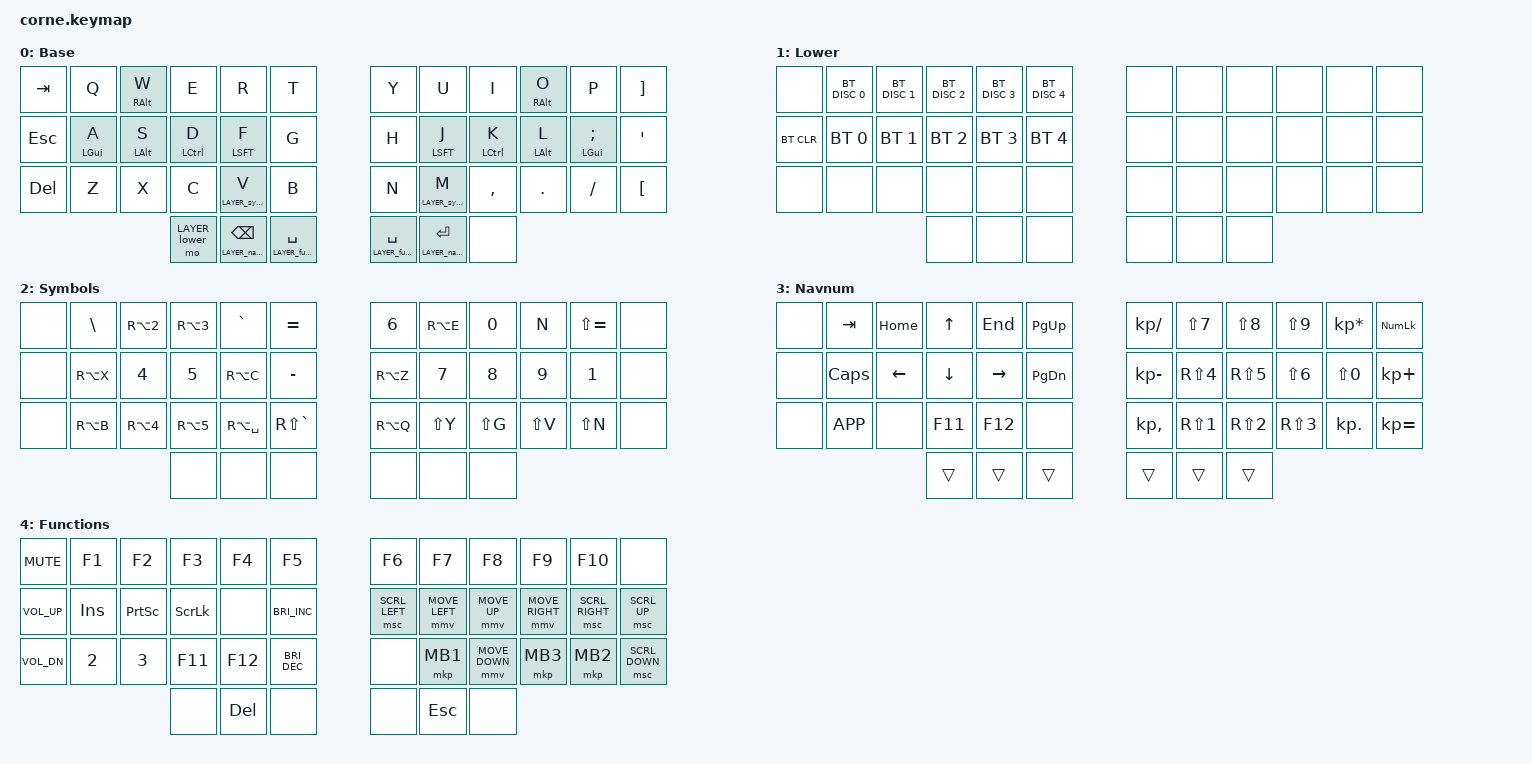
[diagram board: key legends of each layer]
/*
 * Copyright (c) 2020 The ZMK Contributors
 *
 * SPDX-License-Identifier: MIT
 */

#include <behaviors.dtsi>
#include <dt-bindings/zmk/bt.h>
#include <dt-bindings/zmk/keys.h>
#include <dt-bindings/zmk/pointing.h>

#define LAYER_default 0
#define LAYER_lower 1
#define LAYER_symbol 2
#define LAYER_navnum 3
#define LAYER_functions 4

/ {

//////////////////////////////////////////////////////////////////////////////
//
// Advanced Home Row Mods (HRM) Example based on
// Sunaku's Keymap v35 -- "Glorious Engrammer"
// - https://github.com/sunaku/glove80-keymaps
//
//////////////////////////////////////////////////////////////////////////////

//
// DIFFICULTY_LEVEL specifies your level of expertise with this keymap.
// It's meant to help newcomers gradually work their way up to mastery.
// You can disable this setting by omitting it or assigning a `0` zero.
//
// #define DIFFICULTY_LEVEL 0 // custom (see defaults below)
// #define DIFFICULTY_LEVEL 1 // novice (500ms)
// #define DIFFICULTY_LEVEL 2 // slower (400ms)
// #define DIFFICULTY_LEVEL 3 // normal (300ms)
// #define DIFFICULTY_LEVEL 4 // faster (200ms)
// #define DIFFICULTY_LEVEL 5 // expert (100ms)
//

#define DIFFICULTY_LEVEL 3

#if defined(DIFFICULTY_LEVEL) && DIFFICULTY_LEVEL > 0
#define DIFFICULTY_THRESHOLD ((6-DIFFICULTY_LEVEL)*100)
#define HOMEY_HOLDING_TIME DIFFICULTY_THRESHOLD
#define INDEX_HOLDING_TIME DIFFICULTY_THRESHOLD
#endif

  behaviors {

     //////////////////////////////////////////////////////////////////////////
     //
     // Miryoku layers and home row mods (ported from my QMK endgame)
     // - https://sunaku.github.io/home-row-mods.html#porting-to-zmk
     // - https://github.com/urob/zmk-config#timeless-homerow-mods
     //
     //////////////////////////////////////////////////////////////////////////

     //
     // HOMEY_HOLDING_TYPE defines the flavor of ZMK hold-tap behavior to use
     // for the pinky, ring, and middle fingers (which are assigned to Super,
     // Alt, and Ctrl respectively in the Miryoku system) on home row keys.
     //

#define HOMEY_HOLDING_TYPE "tap-preferred"

    //
    // HOMEY_HOLDING_TIME defines how long you need to hold (milliseconds)
    // home row mod keys in order to send their modifiers to the computer
    // (i.e. "register" them) for mod-click mouse usage (e.g. Ctrl-Click).
    //

#ifndef HOMEY_HOLDING_TIME
#define HOMEY_HOLDING_TIME 270 // TAPPING_TERM + ALLOW_CROSSOVER_AFTER
#endif

    //
    // HOMEY_STREAK_DECAY defines how long you need to wait (milliseconds)
    // after typing before you can use home row mods again.  It prevents
    // unintended activation of home row mods when you're actively typing.
    //

#define HOMEY_STREAK_DECAY 250

    //
    // HOMEY_REPEAT_DECAY defines how much time you have left (milliseconds)
    // after tapping a key to hold it again in order to make it auto-repeat.
    //

#define HOMEY_REPEAT_DECAY 300 // "tap then hold" for key auto-repeat

    //
    // INDEX_HOLDING_TYPE defines the flavor of ZMK hold-tap behavior to use
    // for index fingers (which Miryoku assigns to Shift) on home row keys.
    //

#define INDEX_HOLDING_TYPE "tap-preferred"

    //
    // INDEX_HOLDING_TIME defines how long you need to hold (milliseconds)
    // index finger keys in order to send their modifiers to the computer
    // (i.e. "register" them) for mod-click mouse usage (e.g. Shift-Click).
    //

#ifndef INDEX_HOLDING_TIME
#define INDEX_HOLDING_TIME 170
#endif

    //
    // INDEX_STREAK_DECAY defines how long you need to wait (milliseconds)
    // after typing before you can use home row mods again.  It prevents
    // unintended activation of home row mods when you're actively typing.
    //

#define INDEX_STREAK_DECAY 150

    //
    // INDEX_REPEAT_DECAY defines how much time you have left (milliseconds)
    // after tapping a key to hold it again in order to make it auto-repeat.
    //

#define INDEX_REPEAT_DECAY 300 // "tap then hold" for key auto-repeat


#define PINKY_HOLDING_TYPE HOMEY_HOLDING_TYPE
#define PINKY_HOLDING_TIME HOMEY_HOLDING_TIME
#define PINKY_STREAK_DECAY HOMEY_STREAK_DECAY
#define PINKY_REPEAT_DECAY HOMEY_REPEAT_DECAY

#define RING1_HOLDING_TYPE HOMEY_HOLDING_TYPE
#define RING1_HOLDING_TIME HOMEY_HOLDING_TIME
#define RING1_STREAK_DECAY HOMEY_STREAK_DECAY
#define RING1_REPEAT_DECAY HOMEY_REPEAT_DECAY

#define RING2_HOLDING_TYPE HOMEY_HOLDING_TYPE
#define RING2_HOLDING_TIME HOMEY_HOLDING_TIME
#define RING2_STREAK_DECAY HOMEY_STREAK_DECAY
#define RING2_REPEAT_DECAY HOMEY_REPEAT_DECAY

#define MIDDY_HOLDING_TYPE HOMEY_HOLDING_TYPE
#define MIDDY_HOLDING_TIME HOMEY_HOLDING_TIME
#define MIDDY_STREAK_DECAY HOMEY_STREAK_DECAY
#define MIDDY_REPEAT_DECAY HOMEY_REPEAT_DECAY

#define LEFT_PINKY_HOLDING_TYPE PINKY_HOLDING_TYPE
#define LEFT_PINKY_HOLDING_TIME PINKY_HOLDING_TIME
#define LEFT_PINKY_STREAK_DECAY PINKY_STREAK_DECAY
#define LEFT_PINKY_REPEAT_DECAY PINKY_REPEAT_DECAY

#define RIGHT_PINKY_HOLDING_TYPE PINKY_HOLDING_TYPE
#define RIGHT_PINKY_HOLDING_TIME PINKY_HOLDING_TIME
#define RIGHT_PINKY_STREAK_DECAY PINKY_STREAK_DECAY
#define RIGHT_PINKY_REPEAT_DECAY PINKY_REPEAT_DECAY

#define LEFT_RING1_HOLDING_TYPE RING1_HOLDING_TYPE
#define LEFT_RING1_HOLDING_TIME RING1_HOLDING_TIME
#define LEFT_RING1_STREAK_DECAY RING1_STREAK_DECAY
#define LEFT_RING1_REPEAT_DECAY RING1_REPEAT_DECAY

#define RIGHT_RING1_HOLDING_TYPE RING1_HOLDING_TYPE
#define RIGHT_RING1_HOLDING_TIME RING1_HOLDING_TIME
#define RIGHT_RING1_STREAK_DECAY RING1_STREAK_DECAY
#define RIGHT_RING1_REPEAT_DECAY RING1_REPEAT_DECAY

#define LEFT_RING2_HOLDING_TYPE RING2_HOLDING_TYPE
#define LEFT_RING2_HOLDING_TIME RING2_HOLDING_TIME
#define LEFT_RING2_STREAK_DECAY RING2_STREAK_DECAY
#define LEFT_RING2_REPEAT_DECAY RING2_REPEAT_DECAY

#define RIGHT_RING2_HOLDING_TYPE RING2_HOLDING_TYPE
#define RIGHT_RING2_HOLDING_TIME RING2_HOLDING_TIME
#define RIGHT_RING2_STREAK_DECAY RING2_STREAK_DECAY
#define RIGHT_RING2_REPEAT_DECAY RING2_REPEAT_DECAY

#define LEFT_MIDDY_HOLDING_TYPE MIDDY_HOLDING_TYPE
#define LEFT_MIDDY_HOLDING_TIME MIDDY_HOLDING_TIME
#define LEFT_MIDDY_STREAK_DECAY MIDDY_STREAK_DECAY
#define LEFT_MIDDY_REPEAT_DECAY MIDDY_REPEAT_DECAY

#define RIGHT_MIDDY_HOLDING_TYPE MIDDY_HOLDING_TYPE
#define RIGHT_MIDDY_HOLDING_TIME MIDDY_HOLDING_TIME
#define RIGHT_MIDDY_STREAK_DECAY MIDDY_STREAK_DECAY
#define RIGHT_MIDDY_REPEAT_DECAY MIDDY_REPEAT_DECAY

#define LEFT_INDEX_HOLDING_TYPE INDEX_HOLDING_TYPE
#define LEFT_INDEX_HOLDING_TIME INDEX_HOLDING_TIME
#define LEFT_INDEX_STREAK_DECAY INDEX_STREAK_DECAY
#define LEFT_INDEX_REPEAT_DECAY INDEX_REPEAT_DECAY

#define RIGHT_INDEX_HOLDING_TYPE INDEX_HOLDING_TYPE
#define RIGHT_INDEX_HOLDING_TIME INDEX_HOLDING_TIME
#define RIGHT_INDEX_STREAK_DECAY INDEX_STREAK_DECAY
#define RIGHT_INDEX_REPEAT_DECAY INDEX_REPEAT_DECAY

    // Corne
    //
    //      0  1  2  3  4  5           6  7  8  9 10 11
    //      12 13 14 15 16 17         18 19 20 21 22 23
    //      24 25 26 27 28 29           30 31 32 33 34 35
    //                  36 37 38   39 40 41

    //
    // Home row mods with per-finger configuration settings
    //

#define RIGHT_HAND_KEYS 6 7 8 9 10 11 18 19 20 21 22 23 30 31 32 33 34 35
#define LEFT_HAND_KEYS 0 1 2 3 4 5 12 13 14 15 16 17 24 25 26 27 28 29
#define LEFT_THUMB_KEYS 36 37 38
#define RIGHT_THUMB_KEYS 39 40 41
#define ALL_THUMB_KEYS LEFT_THUMB_KEYS RIGHT_THUMB_KEYS

    left_pinky: homey_left_pinky {
        compatible = "zmk,behavior-hold-tap";
        flavor = LEFT_PINKY_HOLDING_TYPE;
        hold-trigger-key-positions = <RIGHT_HAND_KEYS ALL_THUMB_KEYS>;
        hold-trigger-on-release; // wait for other home row mods
        tapping-term-ms = <LEFT_PINKY_HOLDING_TIME>;
        quick-tap-ms = <LEFT_PINKY_REPEAT_DECAY>;
        require-prior-idle-ms = <LEFT_PINKY_STREAK_DECAY>;
        #binding-cells = <2>;
        bindings = <&kp>, <&kp>;
    };

    right_pinky: homey_right_pinky {
        compatible = "zmk,behavior-hold-tap";
        flavor = RIGHT_PINKY_HOLDING_TYPE;
        hold-trigger-key-positions = <LEFT_HAND_KEYS ALL_THUMB_KEYS>;
        hold-trigger-on-release; // wait for other home row mods
        tapping-term-ms = <RIGHT_PINKY_HOLDING_TIME>;
        quick-tap-ms = <RIGHT_PINKY_REPEAT_DECAY>;
        require-prior-idle-ms = <RIGHT_PINKY_STREAK_DECAY>;
        #binding-cells = <2>;
        bindings = <&kp>, <&kp>;
    };

    left_ring1: homey_left_ring1 {
        compatible = "zmk,behavior-hold-tap";
        flavor = LEFT_RING1_HOLDING_TYPE;
        hold-trigger-key-positions = <RIGHT_HAND_KEYS ALL_THUMB_KEYS>;
        hold-trigger-on-release; // wait for other home row mods
        tapping-term-ms = <LEFT_RING1_HOLDING_TIME>;
        quick-tap-ms = <LEFT_RING1_REPEAT_DECAY>;
        require-prior-idle-ms = <LEFT_RING1_STREAK_DECAY>;
        #binding-cells = <2>;
        bindings = <&kp>, <&kp>;
    };

    right_ring1: homey_right_ring1 {
        compatible = "zmk,behavior-hold-tap";
        flavor = RIGHT_RING1_HOLDING_TYPE;
        hold-trigger-key-positions = <LEFT_HAND_KEYS ALL_THUMB_KEYS>;
        hold-trigger-on-release; // wait for other home row mods
        tapping-term-ms = <RIGHT_RING1_HOLDING_TIME>;
        quick-tap-ms = <RIGHT_RING1_REPEAT_DECAY>;
        require-prior-idle-ms = <RIGHT_RING1_STREAK_DECAY>;
        #binding-cells = <2>;
        bindings = <&kp>, <&kp>;
    };

    left_ring2: homey_left_ring2 {
        compatible = "zmk,behavior-hold-tap";
        flavor = LEFT_RING2_HOLDING_TYPE;
        hold-trigger-key-positions = <RIGHT_HAND_KEYS ALL_THUMB_KEYS>;
        hold-trigger-on-release; // wait for other home row mods
        tapping-term-ms = <LEFT_RING2_HOLDING_TIME>;
        quick-tap-ms = <LEFT_RING2_REPEAT_DECAY>;
        require-prior-idle-ms = <LEFT_RING2_STREAK_DECAY>;
        #binding-cells = <2>;
        bindings = <&kp>, <&kp>;
    };

    right_ring2: homey_right_ring2 {
        compatible = "zmk,behavior-hold-tap";
        flavor = RIGHT_RING2_HOLDING_TYPE;
        hold-trigger-key-positions = <LEFT_HAND_KEYS ALL_THUMB_KEYS>;
        hold-trigger-on-release; // wait for other home row mods
        tapping-term-ms = <RIGHT_RING2_HOLDING_TIME>;
        quick-tap-ms = <RIGHT_RING2_REPEAT_DECAY>;
        require-prior-idle-ms = <RIGHT_RING2_STREAK_DECAY>;
        #binding-cells = <2>;
        bindings = <&kp>, <&kp>;
    };

    left_middy: homey_left_middy {
        compatible = "zmk,behavior-hold-tap";
        flavor =
        LEFT_MIDDY_HOLDING_TYPE;
        hold-trigger-key-positions = <RIGHT_HAND_KEYS ALL_THUMB_KEYS>;
        hold-trigger-on-release; // wait for other home row mods
        tapping-term-ms = <LEFT_MIDDY_HOLDING_TIME>;
        quick-tap-ms = <LEFT_MIDDY_REPEAT_DECAY>;
        require-prior-idle-ms = <LEFT_MIDDY_STREAK_DECAY>;
        #binding-cells = <2>;
        bindings = <&kp>, <&kp>;
    };

    right_middy: homey_right_middy {
        compatible = "zmk,behavior-hold-tap";
        flavor = RIGHT_MIDDY_HOLDING_TYPE;
        hold-trigger-key-positions = <LEFT_HAND_KEYS ALL_THUMB_KEYS>;
        hold-trigger-on-release; // wait for other home row mods
        tapping-term-ms = <RIGHT_MIDDY_HOLDING_TIME>;
        quick-tap-ms = <RIGHT_MIDDY_REPEAT_DECAY>;
        require-prior-idle-ms = <RIGHT_MIDDY_STREAK_DECAY>;
        #binding-cells = <2>;
        bindings = <&kp>, <&kp>;
    };

    left_index: homey_left_index {
        compatible = "zmk,behavior-hold-tap";
        flavor = LEFT_INDEX_HOLDING_TYPE;
        hold-trigger-key-positions = <RIGHT_HAND_KEYS ALL_THUMB_KEYS>;
        hold-trigger-on-release; // wait for other home row mods
        tapping-term-ms = <LEFT_INDEX_HOLDING_TIME>;
        quick-tap-ms = <LEFT_INDEX_REPEAT_DECAY>;
        require-prior-idle-ms = <LEFT_INDEX_STREAK_DECAY>;
        #binding-cells = <2>;
        bindings = <&kp>, <&kp>;
    };

    right_index: homey_right_index {
        compatible = "zmk,behavior-hold-tap";
        flavor = RIGHT_INDEX_HOLDING_TYPE;
        hold-trigger-key-positions = <LEFT_HAND_KEYS ALL_THUMB_KEYS>;
        hold-trigger-on-release; // wait for other home row mods
        tapping-term-ms = <RIGHT_INDEX_HOLDING_TIME>;
        quick-tap-ms = <RIGHT_INDEX_REPEAT_DECAY>;
        require-prior-idle-ms = <RIGHT_INDEX_STREAK_DECAY>;
        #binding-cells = <2>;
        bindings = <&kp>, <&kp>;
    };
  };
};

/ {
  keymap {
    compatible = "zmk,keymap";

    // Corne
    //      0  1  2  3  4  5           6  7  8  9 10 11
    //      12 13 14 15 16 17         18 19 20 21 22 23
    //      24 25 26 27 28 29         30 31 32 33 34 35
    //                 36 37 38     39 40 41

    // Using BÉPO layout

    default_layer {

      //      ⭾  B  É  P  O  È          ^  V  D  L  J  W
      //      ⎋  A  U  I  E  ,          C  T  S  R  N  M
      //      ⌦  À  Y  X  .  K          ’  Q  G  H  F  Z
      //                 _  ⌫  ␣      ␣  ⏎  _
      //
      // Modifiers:  É, L: RALT     A, N: LGUI        U, R: LALT     I, S: LCTL         E, T: LSFT
      // Layers:     ., q: symbol   key36: symbol     ⌫, ⏎: navnum   ␣, ␣: functions

      display-name = "Base";
      bindings = <
&kp TAB  &kp Q               &left_ring2 RALT W    &kp E                &kp R                       &kp T                        &kp Y                      &kp U                   &kp I                 &right_ring2 RALT O  &kp P                   &kp RBKT
&kp ESC  &left_pinky LGUI A  &left_ring1 LALT S    &left_middy LCTL D   &left_index LSFT F          &kp G                        &kp H                      &right_index LSFT J     &right_middy LCTL K   &right_ring1 LALT L  &right_pinky LGUI SEMI  &kp SQT
&kp DEL  &kp Z               &kp X                 &kp C                &lt LAYER_symbol V          &kp B                        &kp N                      &lt LAYER_symbol M      &kp COMMA             &kp DOT              &kp FSLH                &kp LBKT
                                                   &mo LAYER_lower      &lt LAYER_navnum BACKSPACE  &lt LAYER_functions SPACE    &lt LAYER_functions SPACE  &lt LAYER_navnum ENTER  &none
      >;
    };

    lower_layer {

      // Lower Layer: Bluetooth
      //
      // First line: disconnect (Disconnect from the 0-indexed profile by number, if it's currently connected and inactive)
			//
      // Second line:
			//    clear
			//  & select (Select the 0-indexed profile by number)
			//
      //      _   0  1  2  3  4           _  _  _  _  _  _
      //     clr  0  1  2  3  4           _  _  _  _  _  _
      //      _   _  _  _  _  _           _  _  _  _  _  _
      //                  _  _  _       _  _  _

      display-name = "Lower";
      bindings = <
&none       &bt BT_DISC 0 &bt BT_DISC 1 &bt BT_DISC 2 &bt BT_DISC 3 &bt BT_DISC 4   &none   &none   &none   &none   &none  &none
&bt BT_CLR  &bt BT_SEL 0  &bt BT_SEL 1  &bt BT_SEL 2  &bt BT_SEL 3  &bt BT_SEL 4    &none   &none   &none   &none   &none  &none
&none       &none         &none         &none         &none         &none           &none   &none   &none   &none   &none  &none
                                        &none         &none         &none           &none   &none   &none
      >;
    };

    symbol_layer {

      //      _  ç  <  >  $  %          @  &  *  ’  `  _
      //      _  {  (  )  }  =          \  +  -  /  "  _
      //      _  ~  [  ]  _  #          |  !  ;  :  ?  _
      //                 _  _  _       _  _  _

      display-name = "Symbols";
            bindings = <
 &none  &kp BSLH   &kp RA(N2)  &kp RA(N3)  &kp GRAVE      &kp EQUAL      &kp N6     &kp RA(E)  &kp N0     &kp N      &kp LS(EQUAL)  &none
 &none  &kp RA(X)  &kp N4      &kp N5      &kp RA(C)      &kp MINUS      &kp RA(Z)  &kp N7     &kp N8     &kp N9     &kp N1         &none
 &none  &kp RA(B)  &kp RA(N4)  &kp RA(N5)  &kp RA(SPACE)  &kp RS(GRAVE)  &kp RA(Q)  &kp LS(Y)  &kp LS(G)  &kp LS(V)  &kp LS(N)      &none
                               &none       &none          &none          &none      &none      &none
      >;
    };

    navnum_layer {

      //      _  ⭾  ↖  ↑   ↖    ⇞       /  7  8  9  *  🔒
      //      _  ⇪  ←  ↓   →    ⇟       -  4  5  6  0  +
      //      _  ☰  _  F11 F12  _       ,  1  2  3  .  =
      //                   _  ⌫   ␣   ␣  ⏎  _

      display-name = "Navnum";
      bindings = <
&none &kp TAB     &kp HOME        &kp UP_ARROW    &kp END          &kp PG_UP             &kp KP_SLASH  &kp LS(N7)    &kp LS(N8)    &kp LS(N9)  &kp KP_MULTIPLY   &kp KP_NUMLOCK
&none &kp CAPS    &kp LEFT_ARROW  &kp DOWN_ARROW  &kp RIGHT_ARROW  &kp PG_DN             &kp KP_MINUS  &kp RS(N4)    &kp RS(N5)    &kp LS(N6)  &kp LS(N0)        &kp KP_PLUS
&none &kp K_APP   &none           &kp F11         &kp F12          &none                 &kp KP_COMMA  &kp RS(N1)    &kp RS(N2)    &kp RS(N3)  &kp KP_DOT        &kp KP_EQUAL
                                  &trans          &trans           &trans                &trans        &trans        &trans
      >;
    };

    fn_layer {

      //      🔇 F1 F2 F3  F4   F5           F6  F7 F8  F9 F10  _
      //      🔊 ⎀  📸 📜   _    🔆           ⤎   ←  ↑  →   ⤏   ⭫
      //      🔉 «  »  F11 F12  🔅           _  LMB  ↓  RMB MMB ⭭
      //                  _    ⌦   _       _   ⎋  _

      display-name = "Functions";
      bindings = <
 &kp C_MUTE    &kp F1   &kp F2     &kp F3            &kp F4   &kp F5          &kp F6          &kp F7          &kp F8          &kp F9           &kp F10          &none
 &kp C_VOL_UP  &kp INS  &kp PSCRN  &kp SCROLLLOCK    &none    &kp C_BRI_INC   &msc SCRL_LEFT  &mmv MOVE_LEFT  &mmv MOVE_UP    &mmv MOVE_RIGHT  &msc SCRL_RIGHT  &msc SCRL_UP
 &kp C_VOL_DN  &kp N2   &kp N3     &kp F11           &kp F12  &kp C_BRI_DEC   &none           &mkp MB1        &mmv MOVE_DOWN  &mkp MB3         &mkp MB2         &msc SCRL_DOWN
                                   &none             &kp DEL  &none           &none           &kp ESC         &none
      >;
    };

  };
};
